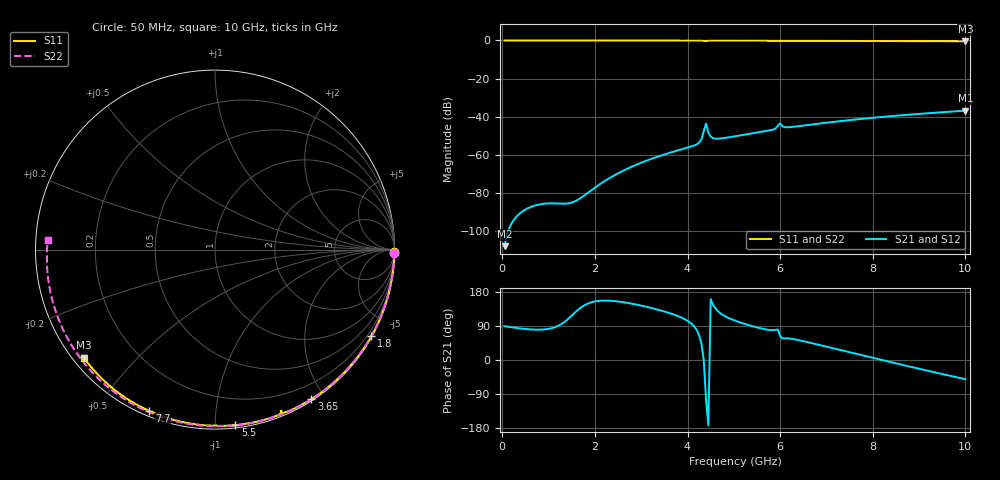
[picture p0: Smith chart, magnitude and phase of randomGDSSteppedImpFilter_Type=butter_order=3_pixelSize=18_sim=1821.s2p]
! freq	dB(S11)	phase(S11)	dB(S12)	phase(S12)
!  dB(S21)	phase(S21)	dB(S22)	phase(S22)
!S-par simulation data
#  GHz  S  DB  R 50
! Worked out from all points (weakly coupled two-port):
!   200 points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, 50 MHz to 10 GHz, reference 50 ohm
!   highest |S21| = -36.76 dB at 10 GHz (marker M1); lowest = -107.7 dB at 50 MHz (marker M2)
!   lowest |S11| = -0.5 dB at 10 GHz (marker M3), VSWR 36.72, Z = 1.54 - j17.9 ohm
!   |S11| at or under -10 dB: nowhere
!   |S22| runs from -0.6 to 0.0 dB; largest |S21 - S12| = 0
!   S11 on the Smith chart (normalised r, x): 50 MHz: open; 1.8 GHz: 0.03, -3.88; 3.65 GHz: 0.02, -1.84; 5.5 GHz: 0.02, -1.12; 7.7 GHz: 0.02, -0.67; 10 GHz: 0.03, -0.36
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0.05  -0.00 -0.8  -107.73 89.1  -107.73 89.1  -0.00 -1.0
0.85  -0.02 -13.8  -85.67 80.2  -85.67 80.2  -0.02 -17.4
1.75  -0.04 -28.1  -81.53 142.7  -81.53 142.7  -0.05 -35.5
1.8  -0.04 -28.9  -80.65 146.2  -80.65 146.2  -0.05 -36.5
2.6  -0.05 -41.3  -68.33 152.8  -68.33 152.8  -0.07 -52.1
3.4  -0.07 -53.4  -60.49 131.4  -60.49 131.4  -0.09 -67.3
3.65  -0.08 -57.2  -58.57 122.2  -58.57 122.2  -0.10 -71.9
4.25  -0.10 -66.1  -53.48 65.2  -53.48 65.2  -0.12 -82.8
4.3  -0.11 -67.0  -51.78 43.2  -51.78 43.2  -0.12 -83.7
4.4  -0.26 -67.6  -43.57 -105.2  -43.57 -105.2  -0.15 -85.4
4.45  -0.14 -68.2  -48.29 -172.6  -48.29 -172.6  -0.13 -86.2
4.55  -0.11 -69.9  -51.14 145.9  -51.14 145.9  -0.13 -88.1
5.05  -0.12 -77.1  -50.09 102.8  -50.09 102.8  -0.15 -96.9
5.5  -0.14 -83.3  -48.22 86.1  -48.22 86.1  -0.17 -104.6
5.85  -0.15 -88.1  -46.66 78.6  -46.66 78.6  -0.19 -110.6
6  -0.18 -90.0  -43.37 62.9  -43.37 62.9  -0.21 -113.1
6.05  -0.17 -90.7  -44.98 56.7  -44.98 56.7  -0.20 -114.0
6.15  -0.16 -92.0  -45.47 57.3  -45.47 57.3  -0.21 -115.7
6.7  -0.19 -99.3  -43.96 44.0  -43.96 44.0  -0.24 -125.0
7.7  -0.26 -112.1  -41.21 14.4  -41.21 14.4  -0.33 -141.8
8.35  -0.31 -120.2  -39.74 -4.6  -39.74 -4.6  -0.39 -153.0
10  -0.47 -140.6  -36.76 -50.6  -36.76 -50.6  -0.60 176.8
